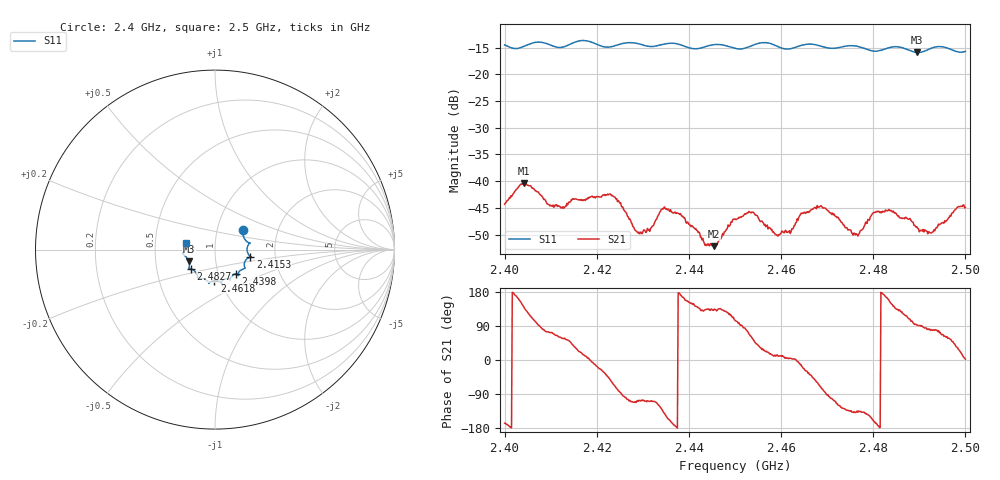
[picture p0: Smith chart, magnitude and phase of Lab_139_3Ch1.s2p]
# Hz S RI R 50
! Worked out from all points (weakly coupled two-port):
!   601 points, 2.4 GHz to 2.5 GHz, reference 50 ohm
!   highest |S21| = -40.41 dB at 2.4042 GHz (marker M1); lowest = -52.2 dB at 2.4455 GHz (marker M2)
!   lowest |S11| = -15.9 dB at 2.4895 GHz (marker M3), VSWR 1.38, Z = 37 - j5 ohm
!   |S11| at or under -10 dB: start of sweep to end of sweep
!   S12 and S22 are empty: the file has one direction only
!   S11 on the Smith chart (normalised r, x): 2.4 GHz: 1.33, +0.30; 2.4153 GHz: 1.48, -0.12; 2.4398 GHz: 1.21, -0.34; 2.4618 GHz: 0.94, -0.33; 2.4827 GHz: 0.75, -0.17; 2.5 GHz: 0.72, +0.06
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2.4e9  0.1551 0.1071  -0.00593 -0.00139  0 0  0 0
2.404167e9  0.1766 0.0458  -0.00732 0.00613  0 0  0 0
2.410167e9  0.1847 0.0247  0.00175 0.0056  0 0  0 0
2.415333e9  0.1964 -0.0392  0.00577 0.00371  0 0  0 0
2.416667e9  0.2025 -0.0431  0.00637 0.0022  0 0  0 0
2.423333e9  0.1629 -0.0808  0.00375 -0.00635  0 0  0 0
2.429333e9  0.1586 -0.1074  -0.000912 -0.00309  0 0  0 0
2.433333e9  0.1294 -0.1338  -0.00227 -0.00423  0 0  0 0
2.435167e9  0.1294 -0.1437  -0.00481 -0.00273  0 0  0 0
2.439833e9  0.1155 -0.1355  -0.00369 0.00174  0 0  0 0
2.4455e9  0.0844 -0.1697  -0.00172 0.00177  0 0  0 0
2.45e9  0.0656 -0.1622  -0.00113 0.00429  0 0  0 0
2.4535e9  0.0368 -0.1805  0.00235 0.00447  0 0  0 0
2.459e9  0.0309 -0.1818  0.00306 0.000639  0 0  0 0
2.461833e9  -0.00331 -0.1728  0.00344 0.000281  0 0  0 0
2.466667e9  -0.0347 -0.1882  0.00401 -0.00371  0 0  0 0
2.476167e9  -0.0957 -0.1572  -0.00237 -0.00209  0 0  0 0
2.482667e9  -0.135 -0.1084  -0.00524 0.00118  0 0  0 0
2.483333e9  -0.1401 -0.1079  -0.00507 0.0019  0 0  0 0
2.4895e9  -0.1458 -0.0659  -0.000178 0.00372  0 0  0 0
2.492833e9  -0.1745 -0.0277  0.00069 0.00326  0 0  0 0
2.5e9  -0.1593 0.0385  0.00568 0.00022  0 0  0 0
